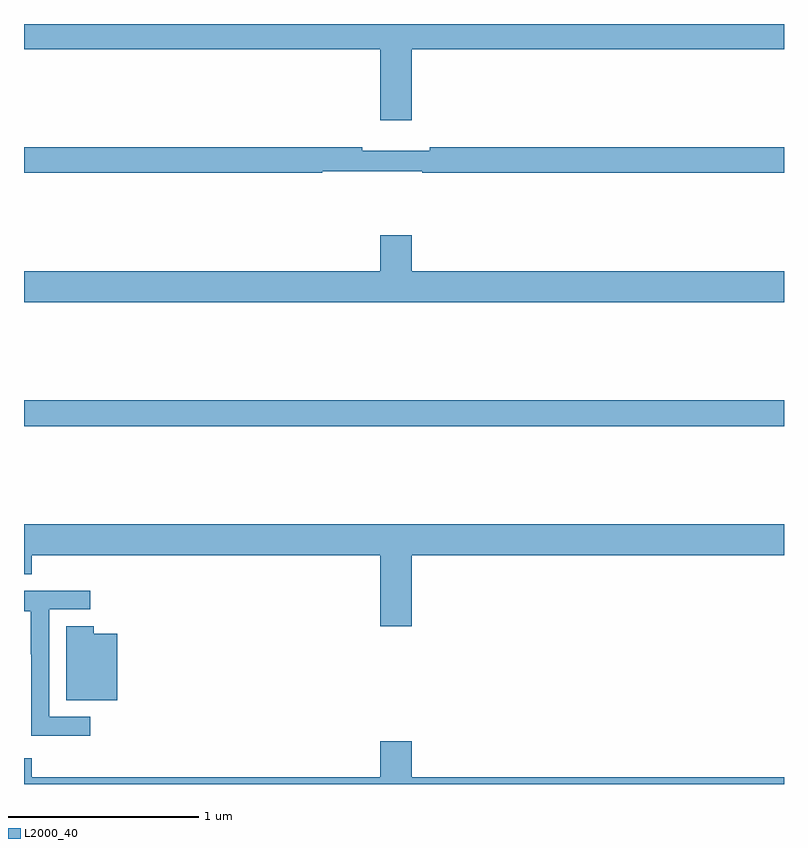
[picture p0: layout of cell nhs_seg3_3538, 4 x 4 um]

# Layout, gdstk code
import gdstk
lib = gdstk.Library(unit=1e-6, precision=1e-09)
def R(c, l, rs):  # rectangles x0, y0, x1, y1
    for r in rs: c.add(gdstk.rectangle(r[:2], r[2:], *l))
def P(c, l, *ps):  # polygons
    for p in ps: c.add(gdstk.Polygon(p, *l))
L2000_40 = (2000, 40)

nhs_seg3_3538 = lib.new_cell('nhs_seg3_3538')
R(nhs_seg3_3538, L2000_40, [(295,680.284,299,680.42)])
P(nhs_seg3_3538, L2000_40, [(297.04,682.268),(299,682.268),(299,682.4),(295,682.4),(295,682.268),(296.876,682.268),(296.876,681.894),(297.04,681.894)],
  [(296.57,681.624),(297.095,681.624),(297.095,681.616),(299,681.616),(299,681.752),(297.136,681.752),(297.136,681.733),(296.78,681.733),(296.78,681.752),(295,681.752),(295,681.616),(296.57,681.616)],
  [(299,681.1),(297.04,681.1),(297.04,681.289),(296.876,681.289),(296.876,681.1),(295,681.1),(295,680.936),(299,680.936)],
  [(295,679.505),(295.04,679.505),(295.04,679.604),(296.876,679.604),(296.876,679.23),(297.04,679.23),(297.04,679.604),(299,679.604),(299,679.768),(295,679.768)],
  [(295.348,678.753),(295.134,678.753),(295.134,679.32),(295.348,679.32),(295.348,679.416),(295,679.416),(295,679.308),(295.036,679.308),(295.036,679.084),(295.038,679.084),(295.038,678.655),(295.348,678.655)],
  [(295.492,679.192),(295.367,679.192),(295.367,679.231),(295.223,679.231),(295.223,678.842),(295.492,678.842)],
  [(299,678.436),(297.04,678.436),(297.04,678.625),(296.876,678.625),(296.876,678.436),(295.04,678.436),(295.04,678.535),(295,678.535),(295,678.4),(299,678.4)])

lib.write_gds('nhs_seg3_3538.gds')
